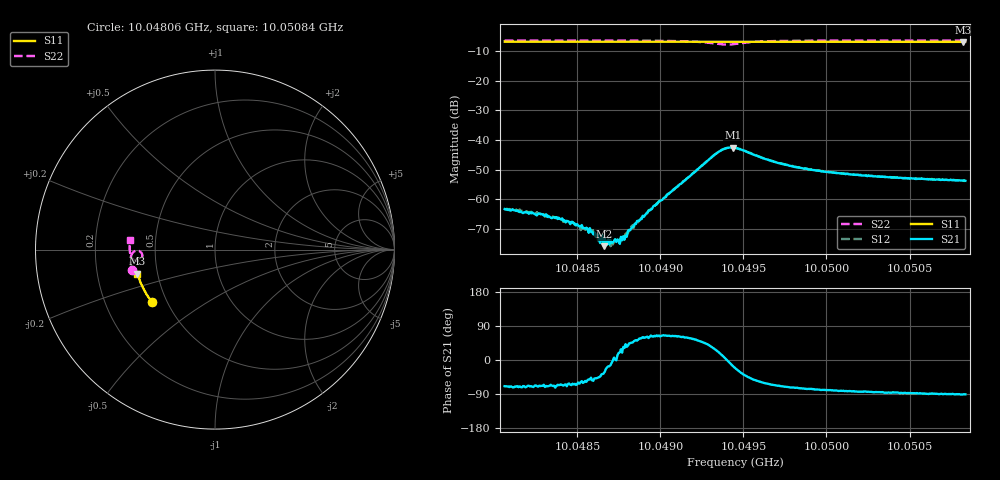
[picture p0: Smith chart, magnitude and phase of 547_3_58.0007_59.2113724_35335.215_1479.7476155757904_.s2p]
#  HZ  S  RI  R  50.00
! Rohde & Schwarz Vector Network Analyzer
! Rohde-Schwarz,ZNB20-2Port,1311601062101988,3.16
! Created: UTC 3/21/2024, 1:14:51 AM
! freq[Hz]  re:S11  im:S11  re:S21  im:S21  re:S12  im:S12  re:S22  im:S22
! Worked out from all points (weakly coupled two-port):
!   401 points, 10.04806 GHz to 10.05084 GHz, reference 50 ohm
!   highest |S21| = -42.54 dB at 10.04944 GHz (marker M1); lowest = -75.8 dB at 10.04866 GHz (marker M2)
!   lowest |S11| = -6.9 dB at 10.05082 GHz (marker M3), VSWR 2.65, Z = 19.2 - j6.49 ohm
!   |S11| at or under -10 dB: nowhere
!   |S22| runs from -7.8 to -6.4 dB; largest |S21 - S12| = 0.00057
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1.0048062e10  -0.3499 -0.2939  0.000243 -0.00064  0.000258 -0.000627  -0.4637 -0.1147
1.0048229e10  -0.3566 -0.2853  0.000203 -0.000566  0.000248 -0.000565  -0.4659 -0.1031
1.0048375e10  -0.3623 -0.2776  0.000184 -0.000465  0.000229 -0.000443  -0.4679 -0.0928
1.0048527e10  -0.3681 -0.2693  0.000206 -0.000304  0.000176 -0.000278  -0.4692 -0.0814
1.0048589e10  -0.3704 -0.2659  0.000164 -0.000224  0.000158 -0.000206  -0.47 -0.0767
1.0048645e10  -0.3724 -0.263  0.000168 -0.000133  0.000205 -0.000129  -0.4702 -0.0723
1.0048659e10  -0.373 -0.262  0.000132 -9.39e-05  0.000163 -0.000131  -0.4702 -0.0713
1.0048673e10  -0.3735 -0.2614  0.000177 -7.55e-05  0.000168 -9.26e-05  -0.4703 -0.0701
1.0048714e10  -0.3749 -0.2591  0.000188 -3.03e-06  0.000174 -3.27e-06  -0.4704 -0.0666
1.004877e10  -0.3768 -0.2559  0.000192 6.74e-05  0.000183 9.42e-05  -0.4708 -0.062
1.0048818e10  -0.3785 -0.2532  0.000214 0.00021  0.000215 0.000231  -0.4706 -0.0577
1.0048853e10  -0.3798 -0.2513  0.000232 0.000304  0.000205 0.000319  -0.4704 -0.0549
1.0048992e10  -0.3846 -0.2435  0.000396 0.000831  0.000345 0.000862  -0.4691 -0.0412
1.0049338e10  -0.3952 -0.2234  0.00541 0.00253  0.00525 0.00291  -0.4199 -0.00893
1.0049387e10  -0.3965 -0.2206  0.0071 0.000733  0.00704 0.00117  -0.4061 -0.0256
1.0049435e10  -0.3979 -0.2182  0.00719 -0.00199  0.00732 -0.0015  -0.409 -0.0485
1.0049449e10  -0.3983 -0.2174  0.00685 -0.00269  0.00707 -0.00217  -0.4129 -0.0537
1.0049699e10  -0.4059 -0.2028  0.00162 -0.00386  0.00188 -0.00376  -0.4658 -0.0421
1.0049914e10  -0.4119 -0.19  0.000723 -0.00305  0.000906 -0.00306  -0.4732 -0.0189
1.0050378e10  -0.423 -0.1618  0.000166 -0.00236  0.000291 -0.00235  -0.4755 0.019
1.0050822e10  -0.4319 -0.1342  -3.12e-05 -0.00209  8.23e-05 -0.00207  -0.4731 0.0506
1.0050836e10  -0.4322 -0.1333  -2.45e-05 -0.00205  8.54e-05 -0.00207  -0.4729 0.0515
